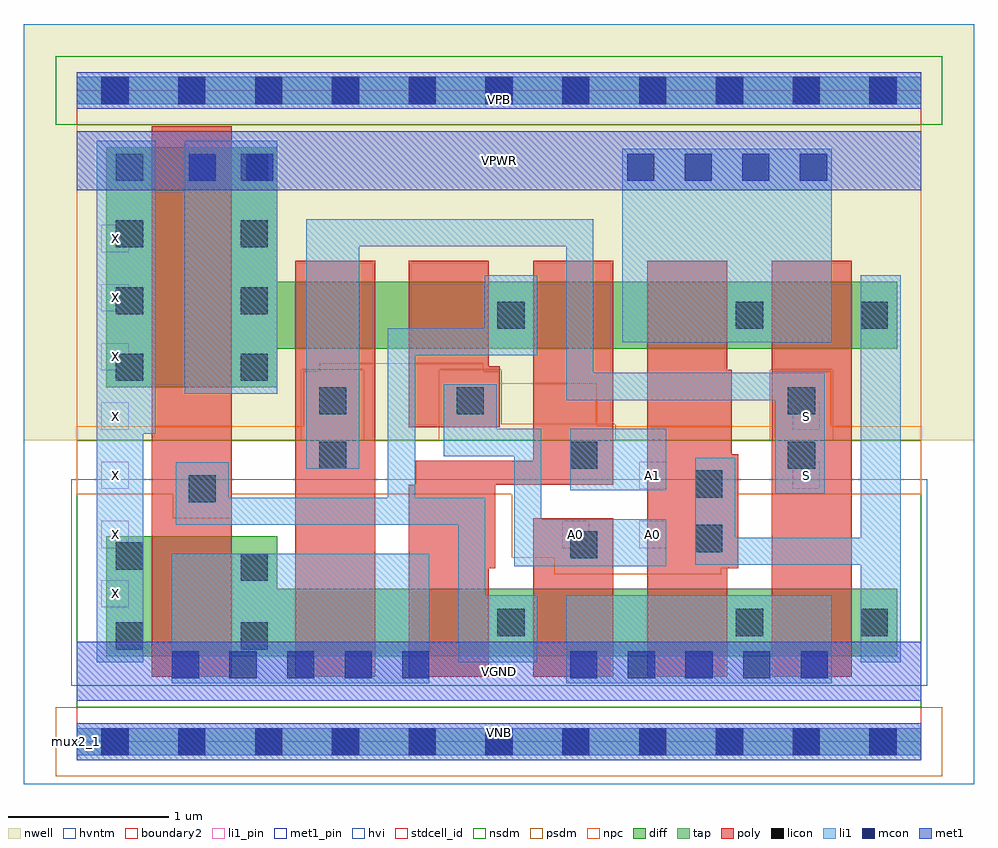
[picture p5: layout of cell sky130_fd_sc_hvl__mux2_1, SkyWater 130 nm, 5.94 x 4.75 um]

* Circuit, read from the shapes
.subckt sky130_fd_sc_hvl__mux2_1 A0 A1 S VGND VNB VPB VPWR X
XM1 VGND n1 X VNB sky130_fd_pr__nfet_g5v0d10v5 w=0.75 l=0.5
XM2 n2 S VGND VNB sky130_fd_pr__nfet_g5v0d10v5 w=0.42 l=0.5
XM3 n1 A1 n2 VNB sky130_fd_pr__nfet_g5v0d10v5 w=0.42 l=0.5
XM4 n3 A0 n1 VNB sky130_fd_pr__nfet_g5v0d10v5 w=0.42 l=0.5
XM5 VGND n4 n3 VNB sky130_fd_pr__nfet_g5v0d10v5 w=0.42 l=0.5
XM6 n4 S VGND VNB sky130_fd_pr__nfet_g5v0d10v5 w=0.42 l=0.5
XM7 VPWR n1 X VPB sky130_fd_pr__pfet_g5v0d10v5 w=1.5 l=0.5
XM8 n5 S VPWR VPB sky130_fd_pr__pfet_g5v0d10v5 w=0.42 l=0.5
XM9 n1 A0 n5 VPB sky130_fd_pr__pfet_g5v0d10v5 w=0.42 l=0.5
XM10 n6 A1 n1 VPB sky130_fd_pr__pfet_g5v0d10v5 w=0.42 l=0.5
XM11 VPWR n4 n6 VPB sky130_fd_pr__pfet_g5v0d10v5 w=0.42 l=0.5
XM12 n4 S VPWR VPB sky130_fd_pr__pfet_g5v0d10v5 w=0.42 l=0.5
.ends

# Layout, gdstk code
import gdstk
lib = gdstk.Library(unit=1e-6, precision=1e-09)
def R(c, l, rs):  # rectangles x0, y0, x1, y1
    for r in rs: c.add(gdstk.rectangle(r[:2], r[2:], *l))
def A(c, l, x, y, w, h, nx, ny, dx, dy):  # array of equal rectangles
    R(c, l, [(x+i*dx, y+j*dy, x+i*dx+w, y+j*dy+h) for i in range(nx) for j in range(ny)])
def P(c, l, *ps):  # polygons
    for p in ps: c.add(gdstk.Polygon(p, *l))
nwell = (64, 20)
diff = (65, 20)
tap = (65, 44)
poly = (66, 20)
licon = (66, 44)
li1_pin = (67, 16)
li1 = (67, 20)
mcon = (67, 44)
met1_pin = (68, 16)
met1 = (68, 20)
hvi = (75, 20)
stdcell_id = (81, 4)
nsdm = (93, 44)
psdm = (94, 20)
npc = (95, 20)
hvntm = (125, 20)
boundary2 = (236, 0)

sky130_fd_sc_hvl__mux2_1 = lib.new_cell('sky130_fd_sc_hvl__mux2_1')
R(sky130_fd_sc_hvl__mux2_1, nwell, [(-0.33,1.885,5.61,4.485)])
P(sky130_fd_sc_hvl__mux2_1, diff, [(0.185,2.215),(0.185,3.715),(1.255,3.715),(1.255,2.875),(5.13,2.875),(5.13,2.455),(1.255,2.455),(1.255,2.215)],
  [(0.185,0.535),(0.185,1.285),(1.255,1.285),(1.255,0.955),(5.13,0.955),(5.13,0.535)])
R(sky130_fd_sc_hvl__mux2_1, tap, [(0,-0.085,5.28,0.085), (0,3.985,5.28,4.155)])
R(sky130_fd_sc_hvl__mux2_1, poly, [(0.47,0.405,0.97,3.845), (1.365,0.405,1.865,3.005), (2.855,0.405,3.355,1.395), (4.345,0.405,4.845,3.005)])
P(sky130_fd_sc_hvl__mux2_1, poly, [(2.075,1.965),(2.075,3.005),(2.575,3.005),(2.575,2.345),(2.645,2.345),(2.645,1.965)],
  [(2.075,0.405),(2.075,1.605),(2.115,1.605),(2.115,1.755),(2.855,1.755),(2.855,3.005),(3.355,3.005),(3.355,1.605),(2.615,1.605),(2.615,1.085),(2.575,1.085),(2.575,0.405)],
  [(3.565,0.405),(3.565,3.005),(4.065,3.005),(4.065,2.325),(4.095,2.325),(4.095,1.795),(4.135,1.795),(4.135,1.085),(4.065,1.085),(4.065,0.405)])
A(sky130_fd_sc_hvl__mux2_1, licon, 0.155, -0.085, 0.17, 0.17, 11, 2, 0.48, 4.07)
R(sky130_fd_sc_hvl__mux2_1, licon, [(0.245,0.575,0.415,0.745), (1.025,0.575,1.195,0.745), (2.63,0.66,2.8,0.83), (4.12,0.66,4.29,0.83), (4.9,0.66,5.07,0.83), (1.025,1.005,1.195,1.175), (0.245,1.075,0.415,1.245), (3.085,1.145,3.255,1.315), (3.865,1.185,4.035,1.355), (0.7,1.495,0.87,1.665), (3.865,1.525,4.035,1.695), (1.515,1.705,1.685,1.875), (3.085,1.705,3.255,1.875), (4.445,1.705,4.615,1.875), (1.515,2.045,1.685,2.215), (2.375,2.045,2.545,2.215), (4.445,2.045,4.615,2.215), (0.245,2.255,0.415,2.425), (1.025,2.255,1.195,2.425), (2.63,2.58,2.8,2.75), (4.12,2.58,4.29,2.75), (4.9,2.58,5.07,2.75), (0.245,2.67,0.415,2.84), (1.025,2.67,1.195,2.84), (0.245,3.09,0.415,3.26), (1.025,3.09,1.195,3.26), (0.245,3.505,0.415,3.675), (1.025,3.505,1.195,3.675)])
A(sky130_fd_sc_hvl__mux2_1, li1_pin, 0.155, 0.84, 0.17, 0.17, 1, 7, 0, 0.37)
R(sky130_fd_sc_hvl__mux2_1, li1_pin, [(3.035,1.21,3.205,1.38), (3.515,1.21,3.685,1.38), (3.515,1.58,3.685,1.75), (4.475,1.58,4.645,1.75), (4.475,1.95,4.645,2.12)])
R(sky130_fd_sc_hvl__mux2_1, li1, [(0,-0.085,5.28,0.085), (0.595,0.365,2.205,1.175), (3.06,0.365,4.72,0.915), (3.085,1.57,3.685,1.955), (0.675,2.175,1.255,3.755), (3.41,2.495,4.72,3.705), (0,3.985,5.28,4.155)])
P(sky130_fd_sc_hvl__mux2_1, li1, [(4.9,0.495),(4.9,1.105),(3.865,1.105),(3.865,1.775),(4.115,1.775),(4.115,1.275),(4.9,1.275),(4.9,2.915),(5.15,2.915),(5.15,0.495)],
  [(0.125,0.495),(0.125,3.755),(0.495,3.755),(0.495,1.925),(0.415,1.925),(0.415,0.495)],
  [(2.385,0.495),(2.385,1.355),(0.62,1.355),(0.62,1.745),(0.95,1.745),(0.95,1.525),(1.945,1.525),(1.945,2.585),(2.55,2.585),(2.55,2.915),(2.88,2.915),(2.88,2.415),(2.115,2.415),(2.115,1.525),(2.555,1.525),(2.555,0.915),(2.88,0.915),(2.88,0.495)],
  [(2.735,1.095),(2.735,1.785),(2.295,1.785),(2.295,2.235),(2.625,2.235),(2.625,1.955),(2.905,1.955),(2.905,1.39),(3.685,1.39),(3.685,1.095)],
  [(4.365,1.55),(4.365,2.135),(3.06,2.135),(3.06,3.095),(1.765,3.095),(1.765,1.705),(1.435,1.705),(1.435,3.265),(3.23,3.265),(3.23,2.305),(4.675,2.305),(4.675,1.55)])
A(sky130_fd_sc_hvl__mux2_1, mcon, 0.595, 0.395, 0.17, 0.17, 5, 1, 0.36, 0)
A(sky130_fd_sc_hvl__mux2_1, mcon, 3.085, 0.395, 0.17, 0.17, 5, 1, 0.36, 0)
A(sky130_fd_sc_hvl__mux2_1, mcon, 3.44, 3.505, 0.17, 0.17, 4, 1, 0.36, 0)
R(sky130_fd_sc_hvl__mux2_1, mcon, [(0.155,-0.085,0.325,0.085), (0.155,-0.085,0.325,0.085), (0.635,-0.085,0.805,0.085), (0.635,-0.085,0.805,0.085), (1.115,-0.085,1.285,0.085), (1.115,-0.085,1.285,0.085), (1.595,-0.085,1.765,0.085), (1.595,-0.085,1.765,0.085), (2.075,-0.085,2.245,0.085), (2.075,-0.085,2.245,0.085), (2.555,-0.085,2.725,0.085), (2.555,-0.085,2.725,0.085), (3.035,-0.085,3.205,0.085), (3.035,-0.085,3.205,0.085), (3.515,-0.085,3.685,0.085), (3.515,-0.085,3.685,0.085), (3.995,-0.085,4.165,0.085), (3.995,-0.085,4.165,0.085), (4.475,-0.085,4.645,0.085), (4.475,-0.085,4.645,0.085), (4.955,-0.085,5.125,0.085), (4.955,-0.085,5.125,0.085), (0.7,3.505,0.87,3.675), (1.06,3.505,1.23,3.675), (0.155,3.985,0.325,4.155), (0.155,3.985,0.325,4.155), (0.635,3.985,0.805,4.155), (0.635,3.985,0.805,4.155), (1.115,3.985,1.285,4.155), (1.115,3.985,1.285,4.155), (1.595,3.985,1.765,4.155), (1.595,3.985,1.765,4.155), (2.075,3.985,2.245,4.155), (2.075,3.985,2.245,4.155), (2.555,3.985,2.725,4.155), (2.555,3.985,2.725,4.155), (3.035,3.985,3.205,4.155), (3.035,3.985,3.205,4.155), (3.515,3.985,3.685,4.155), (3.515,3.985,3.685,4.155), (3.995,3.985,4.165,4.155), (3.995,3.985,4.165,4.155), (4.475,3.985,4.645,4.155), (4.475,3.985,4.645,4.155), (4.955,3.985,5.125,4.155), (4.955,3.985,5.125,4.155)])
R(sky130_fd_sc_hvl__mux2_1, met1_pin, [(0,0,5.28,0.115), (0,0.255,5.28,0.625), (0,3.445,5.28,3.815), (0,3.955,5.28,4.07)])
R(sky130_fd_sc_hvl__mux2_1, met1, [(0,-0.115,5.28,0.115), (0,0.255,5.28,0.625), (0,3.445,5.28,3.815), (0,3.955,5.28,4.185)])
R(sky130_fd_sc_hvl__mux2_1, hvi, [(-0.33,-0.265,5.61,4.485)])
R(sky130_fd_sc_hvl__mux2_1, stdcell_id, [(0,0,5.28,4.07)])
R(sky130_fd_sc_hvl__mux2_1, nsdm, [(0,0.215,5.28,1.885), (-0.13,3.855,5.41,4.285), (0,3.855,5.28,4.07)])
R(sky130_fd_sc_hvl__mux2_1, psdm, [(-0.13,-0.215,5.41,0.215)])
P(sky130_fd_sc_hvl__mux2_1, psdm, [(0,1.885),(0,3.855),(5.28,3.855),(5.28,1.885),(4.725,1.885),(4.725,2.325),(4.335,2.325),(4.335,1.885),(3.365,1.885),(3.365,1.985),(2.655,1.985),(2.655,2.325),(2.265,2.325),(2.265,1.885),(1.795,1.885),(1.795,2.325),(1.405,2.325),(1.405,1.885)])
P(sky130_fd_sc_hvl__mux2_1, npc, [(2.985,1.045),(2.985,1.15),(2.72,1.15),(2.72,1.545),(0.97,1.545),(0.97,1.395),(0.6,1.395),(0.6,1.545),(0,1.545),(0,1.97),(1.415,1.97),(1.415,2.315),(1.52,2.315),(1.52,2.365),(2.54,2.365),(2.54,2.315),(2.645,2.315),(2.645,2.24),(3.25,2.24),(3.25,1.975),(3.355,1.975),(3.355,1.97),(4.345,1.97),(4.345,2.315),(4.715,2.315),(4.715,1.97),(5.28,1.97),(5.28,1.545),(4.135,1.545),(4.135,1.085),(4.03,1.085),(4.03,1.045)])
R(sky130_fd_sc_hvl__mux2_1, hvntm, [(-0.035,0.35,5.315,1.64)])
R(sky130_fd_sc_hvl__mux2_1, boundary2, [(0,0,5.28,4.07)])
sky130_fd_sc_hvl__mux2_1.add(gdstk.Label('S', (4.56,1.665), layer=67, texttype=5))
sky130_fd_sc_hvl__mux2_1.add(gdstk.Label('S', (4.56,2.035), layer=67, texttype=5))
sky130_fd_sc_hvl__mux2_1.add(gdstk.Label('A0', (3.12,1.295), layer=67, texttype=5))
sky130_fd_sc_hvl__mux2_1.add(gdstk.Label('A0', (3.6,1.295), layer=67, texttype=5))
sky130_fd_sc_hvl__mux2_1.add(gdstk.Label('A1', (3.6,1.665), layer=67, texttype=5))
sky130_fd_sc_hvl__mux2_1.add(gdstk.Label('X', (0.24,0.925), layer=67, texttype=5))
sky130_fd_sc_hvl__mux2_1.add(gdstk.Label('X', (0.24,1.295), layer=67, texttype=5))
sky130_fd_sc_hvl__mux2_1.add(gdstk.Label('X', (0.24,1.665), layer=67, texttype=5))
sky130_fd_sc_hvl__mux2_1.add(gdstk.Label('X', (0.24,2.035), layer=67, texttype=5))
sky130_fd_sc_hvl__mux2_1.add(gdstk.Label('X', (0.24,2.405), layer=67, texttype=5))
sky130_fd_sc_hvl__mux2_1.add(gdstk.Label('X', (0.24,2.775), layer=67, texttype=5))
sky130_fd_sc_hvl__mux2_1.add(gdstk.Label('X', (0.24,3.145), layer=67, texttype=5))
sky130_fd_sc_hvl__mux2_1.add(gdstk.Label('mux2_1', (0,0), layer=83, texttype=44))
sky130_fd_sc_hvl__mux2_1.add(gdstk.Label('VGND', (2.64,0.44), layer=68, texttype=5))
sky130_fd_sc_hvl__mux2_1.add(gdstk.Label('VNB', (2.64,0.058), layer=68, texttype=5))
sky130_fd_sc_hvl__mux2_1.add(gdstk.Label('VPWR', (2.64,3.63), layer=68, texttype=5))
sky130_fd_sc_hvl__mux2_1.add(gdstk.Label('VPB', (2.64,4.013), layer=68, texttype=5))

lib.write_gds('sky130_fd_sc_hvl__mux2_1.gds')
